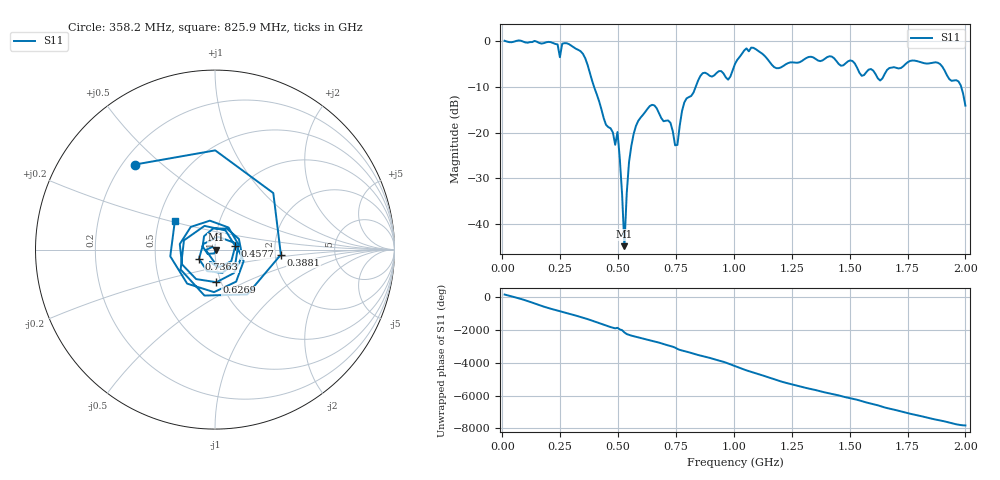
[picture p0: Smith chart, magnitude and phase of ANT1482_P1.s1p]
!Created with skrf (http://scikit-rf.org).
# Hz S RI R 50.0
!freq ReS11 ImS11
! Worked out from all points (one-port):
!   201 points, 10 MHz to 2 GHz, reference 50 ohm
!   lowest |S11| = -44.9 dB at 527.4 MHz (marker M1), VSWR 1.01, Z = 50.6 - j0.0175 ohm
!   |S11| at or under -10 dB: 396.6 MHz to 835.3 MHz (438.7 MHz wide, 71.2 % of centre); 1.982 GHz to end of sweep
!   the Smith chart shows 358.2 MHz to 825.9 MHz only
!   S11 on the Smith chart (normalised r, x): 358.2 MHz: 0.25, +0.41; 388.1 MHz: 2.15, -0.14; 457.8 MHz: 1.25, +0.05; 626.9 MHz: 0.95, -0.36; 736.4 MHz: 0.83, -0.09; 825.9 MHz: 0.61, +0.21
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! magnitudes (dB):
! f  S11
! 10 MHz  0.1
! 248.8 MHz  -3.5
! 258.8 MHz  -0.5
! 358.2 MHz  -3.7
! 388.1 MHz  -8.7
! 457.8 MHz  -18.8
! 487.6 MHz  -22.7
! 497.6 MHz  -19.9
! 507.5 MHz  -25.7
! 527.4 MHz  -44.9
! 537.4 MHz  -33.3
! 557.2 MHz  -22.9
! 626.9 MHz  -14.8
! 736.4 MHz  -19.7
! 756.2 MHz  -22.7
! 786.1 MHz  -13.4
! 825.9 MHz  -11.2
! 865.7 MHz  -7.0
! 975.1 MHz  -8.4
! 1.005 GHz  -5.0
! 1.075 GHz  -1.4
! 1.254 GHz  -4.6
! 1.502 GHz  -4.2
! 1.632 GHz  -8.6
! 1.751 GHz  -4.6
! 1.891 GHz  -5.0
! 1.97 GHz  -8.8
! 2 GHz  -14.1
